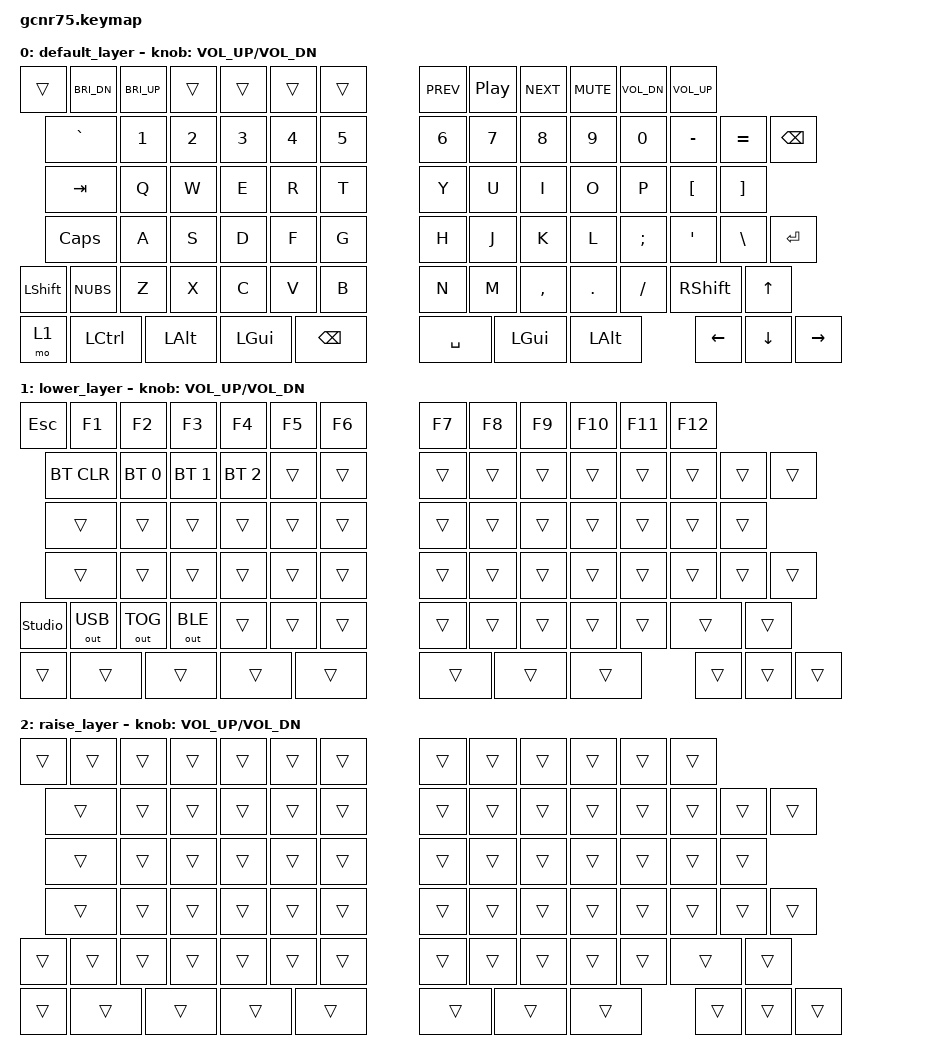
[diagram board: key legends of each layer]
#include <behaviors.dtsi>
#include <dt-bindings/zmk/keys.h>
#include <dt-bindings/zmk/bt.h>
#include <dt-bindings/zmk/ext_power.h>
#include <dt-bindings/zmk/outputs.h>

/ {
    keymap {
        compatible = "zmk,keymap";

        default_layer {
        // ┌───┬───┬───┬───┬───┬───┬───┐┌───┬───┬───┬───┬───┬───┐
        // │ESC│F1 │F2 │F3 │F4 │F5 │F6 ││F7 │F8 │F9 │F10│F11│F12│
        // └─┬─┴───┼───┼───┼───┼───┼───┤├───┼───┼───┼───┼───┼───┼───┬───┐
        //   │  |  │ 1 │ 2 │ 3 │ 4 │ 5 ││ 6 │ 7 │ 8 │ 9 │ 0 │ ' │ ¡ │BK │
        //   ├─────┼───┼───┼───┼───┼───┤├───┼───┼───┼───┼───┼───┼───┼───┤
        //   │ TAB │ Q │ W │ E │ R │ T ││ Y │ U │ I │ O │ P │ ´ │ + │RET│
        //   ├─────┼───┼───┼───┼───┼───┤├───┼───┼───┼───┼───┼───┼───┤   │
        //   │CAPS │ A │ S │ D │ F │ G ││ H │ J │ K │ L │ Ñ │ { │ } │   │
        //┌──┴─┬───┼───┼───┼───┼───┼───┤├───┼───┼───┼───┼───┼───┼─┬─┴─┬─┘
        //│SHIF│ < │ Z │ X │ C │ V │ B ││ N │ M │ , │ . │ - │SHF│ │UP │
        //└┬───┼───┴─┬─┴───┼───┴─┬─┴───┤├───┴─┬─┴───┼───┴─┬─┴─┬─┴─┼───┼───┐
        // │FN │CTRL │ OPT │CMMD │ SPC ││ SPC │CMMD │ OPT │   │LEF│DWN│RGH│
        // └───┴─────┴─────┴─────┴─────┘└─────┴─────┴─────┘   └───┴───┴───┘
            bindings = <
&trans &kp C_BRI_DN &kp C_BRI_UP &trans &trans &trans &trans  &kp C_PREV &kp C_PP &kp C_NEXT &kp C_MUTE &kp C_VOL_DN &kp C_VOL_UP  
     &kp GRAVE     &kp N1 &kp N2 &kp N3 &kp N4 &kp N5  &kp N6 &kp N7 &kp N8    &kp N9  &kp N0   &kp MINUS &kp EQUAL &kp BSPC
     &kp TAB       &kp Q  &kp W  &kp E  &kp R  &kp T   &kp Y  &kp U  &kp I     &kp O   &kp P    &kp LBKT  &kp RBKT
     &kp CAPS      &kp A  &kp S  &kp D  &kp F  &kp G   &kp H  &kp J  &kp K     &kp L   &kp SEMI &kp SQT  &kp BSLH &kp RET
&kp LSHFT &kp NUBS &kp Z  &kp X  &kp C  &kp V  &kp B   &kp N  &kp M  &kp COMMA &kp DOT &kp FSLH &kp RSHFT &kp UP
&mo 1 &kp LCTRL &kp LALT   &kp LGUI        &kp BSPC    &kp SPACE &kp LGUI   &kp LALT             &kp LEFT &kp DOWN &kp RIGHT
            >;

            sensor-bindings = <&inc_dec_kp C_VOL_UP C_VOL_DN>;
        };

        lower_layer {

            bindings = <
&kp ESC &kp F1     &kp F2 &kp F3 &kp F4 &kp F5 &kp F6  &kp F7 &kp F8 &kp F9    &kp F10 &kp F11  &kp F12  
     &bt BT_CLR &bt BT_SEL 0 &bt BT_SEL 1 &bt BT_SEL 2 &trans &trans  &trans &trans &trans &trans &trans &trans &trans &trans
     &trans   &trans &trans &trans &trans &trans  &trans &trans &trans &trans &trans &trans &trans
     &trans   &trans &trans &trans &trans &trans  &trans &trans &trans &trans &trans &trans &trans &trans
&studio_unlock &out OUT_USB &out OUT_TOG &out OUT_BLE &trans &trans &trans  &trans &trans &trans &trans &trans &trans &trans
&trans &trans &trans   &trans        &trans       &trans &trans   &trans             &trans &trans &trans
            >;

            sensor-bindings = <&inc_dec_kp C_VOL_UP C_VOL_DN>;
        };

        raise_layer {
            bindings = <
&trans &trans &trans &trans &trans &trans &trans  &trans &trans &trans &trans &trans &trans  
     &trans   &trans &trans &trans &trans &trans  &trans &trans &trans &trans &trans &trans &trans &trans
     &trans   &trans &trans &trans &trans &trans  &trans &trans &trans &trans &trans &trans &trans
     &trans   &trans &trans &trans &trans &trans  &trans &trans &trans &trans &trans &trans &trans &trans
&trans &trans &trans &trans &trans &trans &trans  &trans &trans &trans &trans &trans &trans &trans
&trans &trans &trans   &trans        &trans       &trans &trans   &trans             &trans &trans &trans
            >;

            sensor-bindings = <&inc_dec_kp C_VOL_UP C_VOL_DN>;
        };
    };
};
